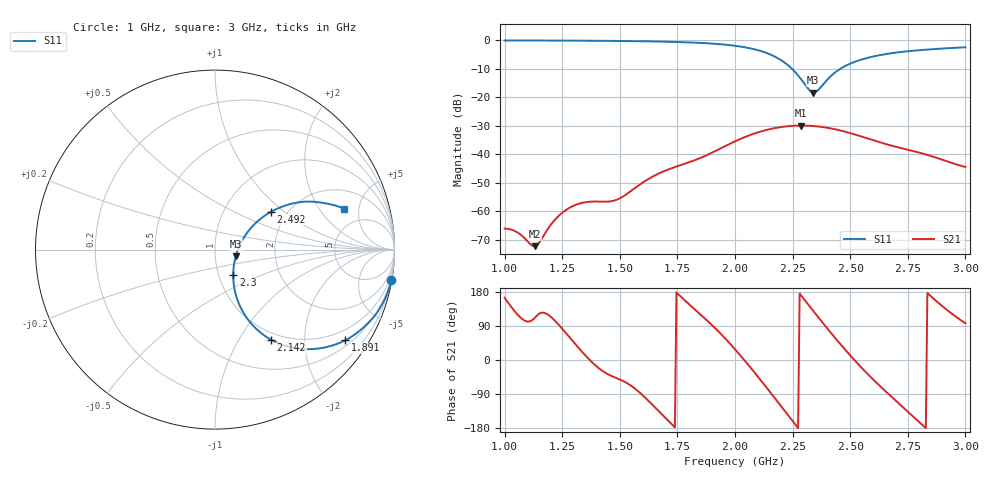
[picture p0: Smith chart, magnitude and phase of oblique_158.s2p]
! TOUCHSTONE file generated by CST MICROWAVE STUDIO
! Date and time: Tue Mar 18 00:02:27 2025
! Project name: oblique.cst
! Parameters = {Tilt=40; Fracture=1; B=10; D=160; F=25; Feed=2.85625; L=100; M=30; R=0.384908; S=2; Theta=180; length=57.125; wave=114.25}
! Header version: 2024
! Port assignment regex: !\s*Touchstone port\s*([0-9]+)\s*=\s*(CST MWS port|CST DES external port|CST DES block port)\s*(.+)\s* \(\"(.*)\"\)(\s*mode\s*([0-9]+))?.*
! Touchstone port assignment:
! Touchstone port 1 = CST MWS port 1 ("")
! Touchstone port 2 = CST MWS port 2 ("")
# GHz S DB R 50
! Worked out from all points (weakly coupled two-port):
!   304 points, 1 GHz to 3 GHz, reference 50 ohm
!   highest |S21| = -29.89 dB at 2.287 GHz (marker M1); lowest = -72.2 dB at 1.132 GHz (marker M2)
!   lowest |S11| = -18.3 dB at 2.34 GHz (marker M3), VSWR 1.28, Z = 62.9 - j4.66 ohm
!   |S11| at or under -10 dB: 2.248 GHz to 2.457 GHz (208.9 MHz wide, 8.88 % of centre)
!   S12 and S22 are empty: the file has one direction only
!   S11 on the Smith chart (normalised r, x): 1 GHz: 0, -12; 1.891 GHz: 0.66, -3.06; 2.142 GHz: 0.90, -1.38; 2.3 GHz: 1.17, -0.35; 2.492 GHz: 1.66, +0.82; 3 GHz: 3.32, +3.52
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1  -0.02 -9.8  -66.06 164.3  -200.00 0.0  -200.00 0.0
1.05281  -0.03 -10.5  -67.25 122.3  -200.00 0.0  -200.00 0.0
1.13201  -0.04 -11.7  -72.22 112.2  -200.00 0.0  -200.00 0.0
1.14521  -0.04 -11.9  -71.48 120.1  -200.00 0.0  -200.00 0.0
1.19802  -0.05 -12.8  -64.98 115.3  -200.00 0.0  -200.00 0.0
1.23762  -0.07 -13.4  -61.35 91.2  -200.00 0.0  -200.00 0.0
1.28383  -0.08 -14.2  -58.65 58.5  -200.00 0.0  -200.00 0.0
1.33663  -0.10 -15.3  -57.02 21.3  -200.00 0.0  -200.00 0.0
1.48845  -0.20 -18.7  -55.86 -48.4  -200.00 0.0  -200.00 0.0
1.66667  -0.40 -24.0  -46.81 -133.5  -200.00 0.0  -200.00 0.0
1.89109  -1.06 -34.8  -39.76 97.2  -200.00 0.0  -200.00 0.0
2.0033  -1.92 -43.3  -35.31 26.1  -200.00 0.0  -200.00 0.0
2.14191  -4.57 -58.1  -31.32 -76.6  -200.00 0.0  -200.00 0.0
2.22112  -8.14 -65.7  -30.19 -138.3  -200.00 0.0  -200.00 0.0
2.28713  -13.67 -60.2  -29.89 170.1  -200.00 0.0  -200.00 0.0
2.30033  -15.13 -54.6  -29.90 159.8  -200.00 0.0  -200.00 0.0
2.33993  -18.32 -17.5  -30.05 129.2  -200.00 0.0  -200.00 0.0
2.35974  -17.53 5.1  -30.20 114.1  -200.00 0.0  -200.00 0.0
2.43234  -11.39 33.1  -31.15 59.9  -200.00 0.0  -200.00 0.0
2.49175  -8.46 34.0  -32.34 17.8  -200.00 0.0  -200.00 0.0
2.66997  -4.61 27.1  -36.73 -91.8  -200.00 0.0  -200.00 0.0
3  -2.43 17.4  -44.40 97.0  -200.00 0.0  -200.00 0.0
